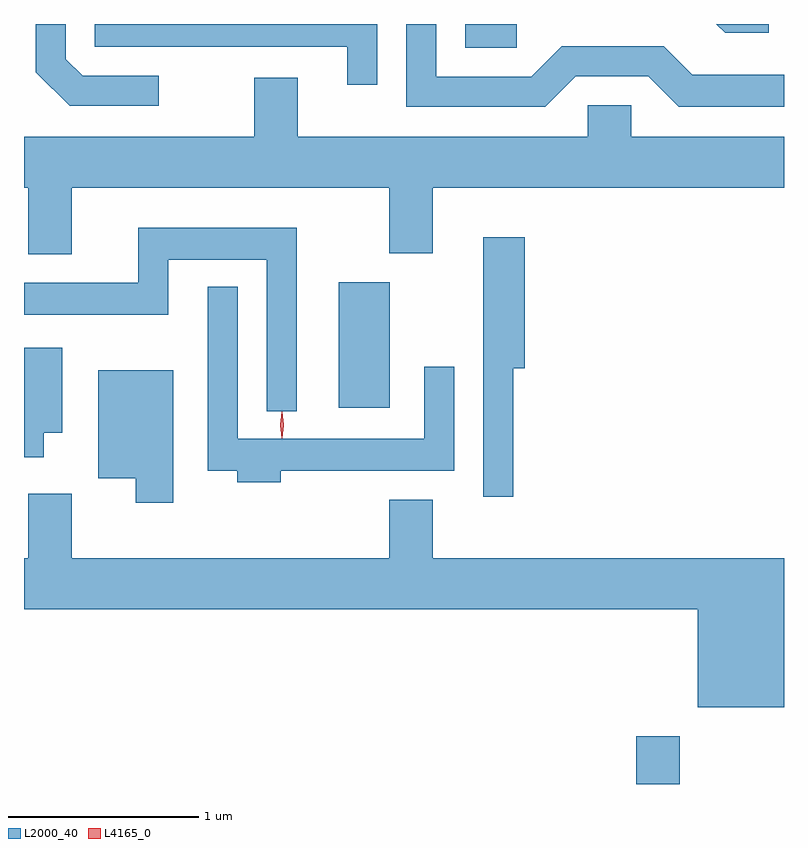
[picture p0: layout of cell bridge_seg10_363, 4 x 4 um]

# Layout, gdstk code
import gdstk
lib = gdstk.Library(unit=1e-6, precision=1e-09)
def R(c, l, rs):  # rectangles x0, y0, x1, y1
    for r in rs: c.add(gdstk.rectangle(r[:2], r[2:], *l))
def P(c, l, *ps):  # polygons
    for p in ps: c.add(gdstk.Polygon(p, *l))
L2000_40 = (2000, 40)
L4165_0 = (4165, 0)

bridge_seg10_363 = lib.new_cell('bridge_seg10_363')
R(bridge_seg10_363, L2000_40, [(1065.971,2124.097,1066.199,2124.349), (1064.406,2126.076,1064.674,2126.739), (1065.071,2127.971,1065.343,2128.097)])
P(bridge_seg10_363, L2000_40, [(1064.609,2128.097),(1063.121,2128.097),(1063.121,2127.976),(1064.451,2127.976),(1064.451,2127.778),(1064.609,2127.778)],
  [(1065.652,2127.821),(1066.034,2127.821),(1066.194,2127.661),(1066.749,2127.661),(1066.749,2127.829),(1066.267,2127.829),(1066.117,2127.979),(1065.579,2127.979),(1065.419,2127.819),(1064.919,2127.819),(1064.919,2128.097),(1064.761,2128.097),(1064.761,2127.661),(1065.492,2127.661)],
  [(1063.458,2127.824),(1063.057,2127.824),(1062.969,2127.912),(1062.969,2128.097),(1062.811,2128.097),(1062.811,2127.844),(1062.989,2127.666),(1063.458,2127.666)],
  [(1066.668,2128.097),(1066.393,2128.097),(1066.439,2128.051),(1066.668,2128.051)],
  [(1062.999,2127.236),(1064.671,2127.236),(1064.671,2126.891),(1064.899,2126.891),(1064.899,2127.236),(1066.749,2127.236),(1066.749,2127.504),(1065.944,2127.504),(1065.944,2127.669),(1065.716,2127.669),(1065.716,2127.504),(1064.189,2127.504),(1064.189,2127.814),(1063.961,2127.814),(1063.961,2127.504),(1062.749,2127.504),(1062.749,2127.236),(1062.771,2127.236),(1062.771,2126.886),(1062.999,2126.886)],
  [(1064.184,2127.024),(1063.351,2127.024),(1063.351,2126.734),(1062.749,2126.734),(1062.749,2126.566),(1063.509,2126.566),(1063.509,2126.856),(1064.026,2126.856),(1064.026,2126.058),(1064.184,2126.058)],
  [(1065.324,2126.286),(1065.384,2126.286),(1065.384,2126.974),(1065.166,2126.974),(1065.166,2125.608),(1065.324,2125.608)],
  [(1064.099,2125.746),(1065.014,2125.746),(1065.014,2126.293),(1064.856,2126.293),(1064.856,2125.914),(1063.874,2125.914),(1063.874,2126.713),(1063.716,2126.713),(1063.716,2125.746),(1063.871,2125.746),(1063.871,2125.686),(1064.099,2125.686)],
  [(1062.854,2125.946),(1062.949,2125.946),(1062.949,2126.394),(1062.749,2126.394),(1062.749,2125.816),(1062.854,2125.816)],
  [(1063.534,2126.274),(1063.141,2126.274),(1063.141,2125.706),(1063.336,2125.706),(1063.336,2125.576),(1063.534,2125.576)],
  [(1066.749,2125.284),(1064.899,2125.284),(1064.899,2125.594),(1064.671,2125.594),(1064.671,2125.284),(1062.999,2125.284),(1062.999,2125.624),(1062.771,2125.624),(1062.771,2125.284),(1062.749,2125.284),(1062.749,2125.016),(1066.296,2125.016),(1066.296,2124.501),(1066.749,2124.501)])
P(bridge_seg10_363, L4165_0, [(1064.107,2125.917),(1064.106,2125.918),(1064.097,2125.987),(1064.106,2126.056),(1064.107,2126.056),(1064.108,2126.056),(1064.117,2125.987),(1064.108,2125.918)],
  [(1064.107,2125.919),(1064.106,2125.92),(1064.097,2125.986),(1064.106,2126.053),(1064.107,2126.053),(1064.108,2126.053),(1064.117,2125.986),(1064.108,2125.92)])

lib.write_gds('bridge_seg10_363.gds')
